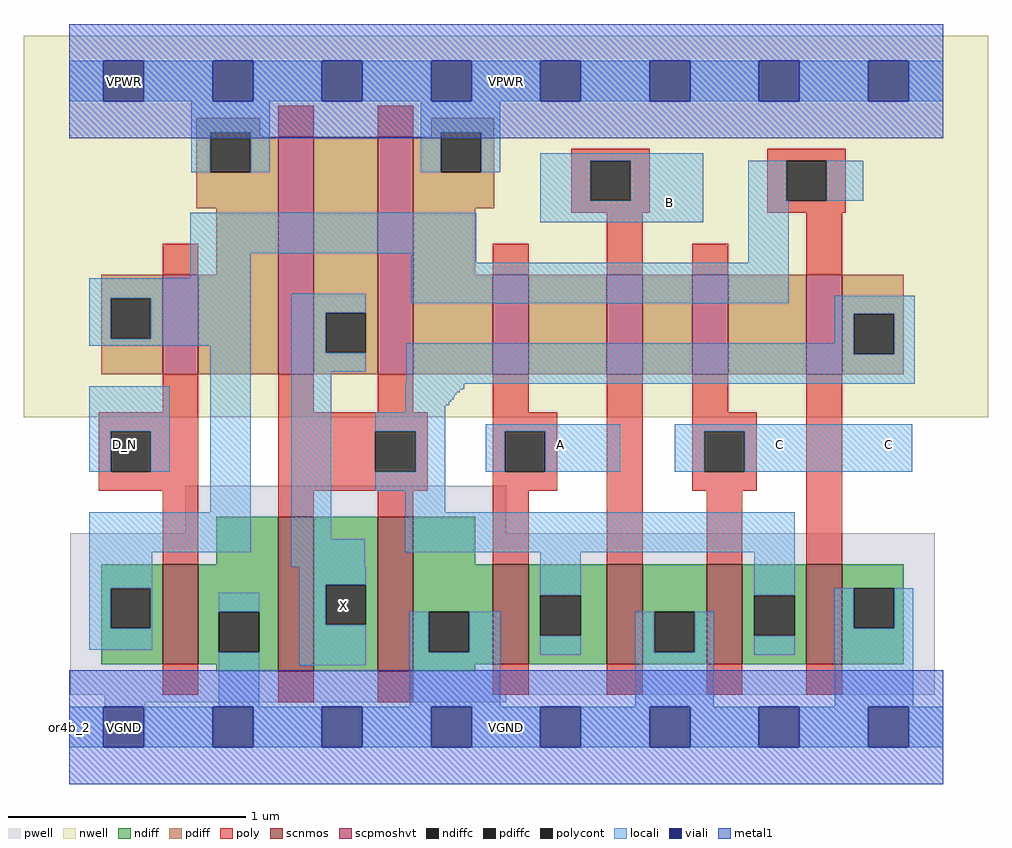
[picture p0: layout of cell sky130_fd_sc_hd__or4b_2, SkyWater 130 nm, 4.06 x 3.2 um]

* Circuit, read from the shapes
.subckt sky130_fd_sc_hd__or4b_2 A B C D_N VGND VNB VPB VPWR X
XM1 VGND D_N n1 VNB sky130_fd_pr__nfet_01v8 w=0.42 l=0.15
XM2 X n2 VGND VNB sky130_fd_pr__nfet_01v8 w=0.65 l=0.15 m=2
XM3 n2 A VGND VNB sky130_fd_pr__nfet_01v8 w=0.42 l=0.15
XM4 VGND B n2 VNB sky130_fd_pr__nfet_01v8 w=0.42 l=0.15
XM5 n2 C VGND VNB sky130_fd_pr__nfet_01v8 w=0.42 l=0.15
XM6 VGND n1 n2 VNB sky130_fd_pr__nfet_01v8 w=0.42 l=0.15
XM7 VPWR D_N n1 VPB sky130_fd_pr__pfet_01v8_hvt w=0.42 l=0.15
XM8 X n2 VPWR VPB sky130_fd_pr__pfet_01v8_hvt w=1 l=0.15 m=2
XM9 n3 A VPWR VPB sky130_fd_pr__pfet_01v8_hvt w=0.42 l=0.15
XM10 n4 B n3 VPB sky130_fd_pr__pfet_01v8_hvt w=0.42 l=0.15
XM11 n5 C n4 VPB sky130_fd_pr__pfet_01v8_hvt w=0.42 l=0.15
XM12 n2 n1 n5 VPB sky130_fd_pr__pfet_01v8_hvt w=0.42 l=0.15
.ends

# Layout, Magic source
magic
tech sky130A
magscale 1 2
<< nwell >>
rect -38 261 774 582
<< pwell >>
rect 98 163 368 203
rect 1 27 729 163
rect 30 21 368 27
rect 30 -17 64 21
<< scnmos >>
rect 79 53 109 137
rect 176 47 206 177
rect 260 47 290 177
rect 357 53 387 137
rect 453 53 483 137
rect 537 53 567 137
rect 621 53 651 137
<< scpmoshvt >>
rect 79 297 109 381
rect 176 297 206 497
rect 260 297 290 497
rect 357 297 387 381
rect 453 297 483 381
rect 525 297 555 381
rect 621 297 651 381
<< ndiff >>
rect 124 137 176 177
rect 27 117 79 137
rect 27 83 35 117
rect 69 83 79 117
rect 27 53 79 83
rect 109 97 176 137
rect 109 63 126 97
rect 160 63 176 97
rect 109 53 176 63
rect 124 47 176 53
rect 206 120 260 177
rect 206 86 216 120
rect 250 86 260 120
rect 206 47 260 86
rect 290 137 342 177
rect 290 97 357 137
rect 290 63 303 97
rect 337 63 357 97
rect 290 53 357 63
rect 387 111 453 137
rect 387 77 397 111
rect 431 77 453 111
rect 387 53 453 77
rect 483 97 537 137
rect 483 63 493 97
rect 527 63 537 97
rect 483 53 537 63
rect 567 111 621 137
rect 567 77 577 111
rect 611 77 621 111
rect 567 53 621 77
rect 651 117 703 137
rect 651 83 661 117
rect 695 83 703 117
rect 651 53 703 83
rect 290 47 342 53
<< pdiff >>
rect 107 501 161 513
rect 107 467 119 501
rect 153 497 161 501
rect 305 501 358 513
rect 305 497 313 501
rect 153 467 176 497
rect 107 437 176 467
rect 124 381 176 437
rect 27 361 79 381
rect 27 327 35 361
rect 69 327 79 361
rect 27 297 79 327
rect 109 297 176 381
rect 206 349 260 497
rect 206 315 216 349
rect 250 315 260 349
rect 206 297 260 315
rect 290 467 313 497
rect 347 467 358 501
rect 290 437 358 467
rect 290 381 342 437
rect 290 297 357 381
rect 387 297 453 381
rect 483 297 525 381
rect 555 297 621 381
rect 651 348 703 381
rect 651 314 661 348
rect 695 314 703 348
rect 651 297 703 314
<< ndiffc >>
rect 35 83 69 117
rect 126 63 160 97
rect 216 86 250 120
rect 303 63 337 97
rect 397 77 431 111
rect 493 63 527 97
rect 577 77 611 111
rect 661 83 695 117
<< pdiffc >>
rect 119 467 153 501
rect 35 327 69 361
rect 216 315 250 349
rect 313 467 347 501
rect 661 314 695 348
<< poly >>
rect 176 497 206 523
rect 260 497 290 523
rect 79 381 109 407
rect 423 477 489 487
rect 423 443 439 477
rect 473 443 489 477
rect 423 433 489 443
rect 588 477 654 487
rect 588 443 604 477
rect 638 443 654 477
rect 588 433 654 443
rect 357 381 387 407
rect 453 381 483 433
rect 525 381 555 407
rect 621 381 651 433
rect 79 265 109 297
rect 25 249 109 265
rect 25 215 35 249
rect 69 215 109 249
rect 25 199 109 215
rect 79 137 109 199
rect 176 265 206 297
rect 260 265 290 297
rect 357 265 387 297
rect 176 249 302 265
rect 176 215 258 249
rect 292 215 302 249
rect 176 199 302 215
rect 357 249 411 265
rect 357 215 367 249
rect 401 215 411 249
rect 357 199 411 215
rect 176 177 206 199
rect 260 177 290 199
rect 79 27 109 53
rect 357 137 387 199
rect 453 137 483 297
rect 525 265 555 297
rect 525 249 579 265
rect 525 215 535 249
rect 569 215 579 249
rect 525 199 579 215
rect 537 137 567 199
rect 621 137 651 297
rect 176 21 206 47
rect 260 21 290 47
rect 357 27 387 53
rect 453 27 483 53
rect 537 27 567 53
rect 621 27 651 53
<< polycont >>
rect 439 443 473 477
rect 604 443 638 477
rect 35 215 69 249
rect 258 215 292 249
rect 367 215 401 249
rect 535 215 569 249
<< locali >>
rect 0 527 29 561
rect 63 527 121 561
rect 155 527 213 561
rect 247 527 305 561
rect 339 527 397 561
rect 431 527 489 561
rect 523 527 581 561
rect 615 527 673 561
rect 707 527 736 561
rect 103 501 169 527
rect 103 467 119 501
rect 153 467 169 501
rect 296 501 363 527
rect 296 467 313 501
rect 347 467 363 501
rect 397 477 534 483
rect 397 443 439 477
rect 473 443 534 477
rect 102 399 343 433
rect 397 425 534 443
rect 572 443 604 477
rect 638 443 669 477
rect 102 378 153 399
rect 17 361 153 378
rect 288 391 343 399
rect 572 391 606 443
rect 17 327 35 361
rect 69 327 153 361
rect 17 321 153 327
rect 17 249 85 287
rect 17 215 35 249
rect 69 215 85 249
rect 119 181 153 321
rect 17 147 153 181
rect 187 349 250 365
rect 288 357 606 391
rect 187 315 216 349
rect 645 348 712 363
rect 645 323 661 348
rect 187 299 250 315
rect 284 314 661 323
rect 695 314 712 348
rect 187 158 221 299
rect 284 290 712 314
rect 283 289 712 290
rect 283 285 333 289
rect 283 284 331 285
rect 283 282 329 284
rect 283 280 326 282
rect 283 278 325 280
rect 283 276 324 278
rect 283 274 322 276
rect 283 271 320 274
rect 283 265 317 271
rect 258 249 317 265
rect 292 215 317 249
rect 351 249 464 255
rect 351 215 367 249
rect 401 215 464 249
rect 510 249 710 255
rect 510 215 535 249
rect 569 215 710 249
rect 258 199 317 215
rect 283 181 317 199
rect 17 117 70 147
rect 187 136 249 158
rect 283 147 611 181
rect 187 135 250 136
rect 17 83 35 117
rect 69 83 70 117
rect 194 120 250 135
rect 17 65 70 83
rect 126 97 160 113
rect 126 17 160 63
rect 194 86 216 120
rect 397 111 431 147
rect 194 52 250 86
rect 287 63 303 97
rect 337 63 363 97
rect 287 17 363 63
rect 577 111 611 147
rect 397 61 431 77
rect 477 63 493 97
rect 527 63 543 97
rect 477 17 543 63
rect 577 61 611 77
rect 645 83 661 117
rect 695 83 711 117
rect 645 17 711 83
rect 0 -17 29 17
rect 63 -17 121 17
rect 155 -17 213 17
rect 247 -17 305 17
rect 339 -17 397 17
rect 431 -17 489 17
rect 523 -17 581 17
rect 615 -17 673 17
rect 707 -17 736 17
<< viali >>
rect 29 527 63 561
rect 121 527 155 561
rect 213 527 247 561
rect 305 527 339 561
rect 397 527 431 561
rect 489 527 523 561
rect 581 527 615 561
rect 673 527 707 561
rect 29 -17 63 17
rect 121 -17 155 17
rect 213 -17 247 17
rect 305 -17 339 17
rect 397 -17 431 17
rect 489 -17 523 17
rect 581 -17 615 17
rect 673 -17 707 17
<< metal1 >>
rect 0 561 736 592
rect 0 527 29 561
rect 63 527 121 561
rect 155 527 213 561
rect 247 527 305 561
rect 339 527 397 561
rect 431 527 489 561
rect 523 527 581 561
rect 615 527 673 561
rect 707 527 736 561
rect 0 496 736 527
rect 0 17 736 48
rect 0 -17 29 17
rect 63 -17 121 17
rect 155 -17 213 17
rect 247 -17 305 17
rect 339 -17 397 17
rect 431 -17 489 17
rect 523 -17 581 17
rect 615 -17 673 17
rect 707 -17 736 17
rect 0 -48 736 -17
<< labels >>
flabel locali s 673 221 707 255 0 FreeSans 400 180 0 0 C
port 3 nsew signal input
flabel locali s 397 221 431 255 0 FreeSans 400 180 0 0 A
port 1 nsew signal input
flabel locali s 214 85 248 119 0 FreeSans 200 180 0 0 X
port 9 nsew signal output
flabel locali s 581 221 615 255 0 FreeSans 400 180 0 0 C
port 3 nsew signal input
flabel locali s 489 425 523 459 0 FreeSans 400 180 0 0 B
port 2 nsew signal input
flabel locali s 30 221 64 255 0 FreeSans 400 0 0 0 D_N
port 4 nsew signal input
flabel metal1 s 30 527 64 561 0 FreeSans 200 0 0 0 VPWR
port 8 nsew power bidirectional abutment
flabel metal1 s 30 -17 64 17 0 FreeSans 200 0 0 0 VGND
port 5 nsew ground bidirectional abutment
flabel nwell s 30 527 64 561 0 FreeSans 200 0 0 0 VPB
port 7 nsew power bidirectional
flabel pwell s 30 -17 64 17 0 FreeSans 200 0 0 0 VNB
port 6 nsew ground bidirectional
rlabel comment s 0 0 0 0 4 or4b_2
rlabel metal1 s 0 -48 736 48 1 VGND
port 5 nsew ground bidirectional abutment
rlabel metal1 s 0 496 736 592 1 VPWR
port 8 nsew power bidirectional abutment
<< properties >>
string FIXED_BBOX 0 0 736 544
string GDS_END 1082032
string GDS_FILE $PDKPATH/libs.ref/sky130_fd_sc_hd/gds/sky130_fd_sc_hd.gds
string GDS_START 1075538
string LEFclass CORE
string LEFsite unithd
string LEFsymmetry X Y R90
string path 0.000 0.000 3.680 0.000 
<< end >>
